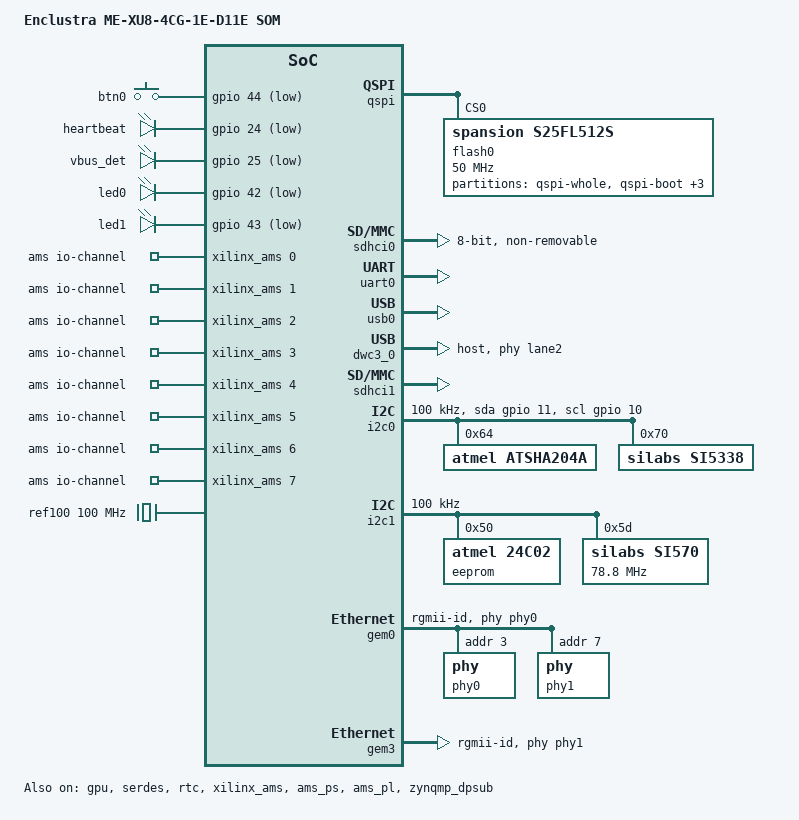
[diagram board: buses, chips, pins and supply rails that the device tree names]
#include "system-conf.dtsi"
/ {
	model = "Enclustra ME-XU8-4CG-1E-D11E SOM";
};

#include <dt-bindings/gpio/gpio.h>
#include <dt-bindings/clock/clk-si5338.h>
#include <dt-bindings/phy/phy.h>

/ {
  /delete-node/ chosen;
  chosen {
    bootargs = " earlycon console=ttyPS0,115200 clk_ignore_unused cma=1424M root=/dev/mmcblk1p2 rw rootwait";
    /*bootargs = "clk_ignore_unused maxcpus=1 nokaslr pti=off cma=1424M root=/dev/mmcblk1p2 rw rootwait"; // LX kernel debug boot*/
    /*bootargs = " earlycon console=ttyPS0,115200 clk_ignore_unused cma=1424M"; // ramdisk boot */
    stdout-path = "serial0:115200n8";
  };
  
  /delete-node/ aliases;
  aliases {
    ethernet0 = &gem0;
    ethernet1 = &gem3;
    i2c0 = &i2c0;
    i2c1 = &i2c1;
    serial0 = &uart0;
    spi0 = &qspi;
  };

  gpio-keys {
    compatible = "gpio-keys";
    autorepeat;
    
    //PS_BTN0# ST1_BTN0
    btn0 {
      label = "btn0";
      gpios = <&gpio 44 GPIO_ACTIVE_LOW>;
    };
  };
  
  gpio-leds {
    compatible = "gpio-leds";
    
    //PS_LED0# Mercury_XU8
    d200 {
      label = "heartbeat";
      gpios = <&gpio 24 GPIO_ACTIVE_LOW>;
      default-state = "off";
      linux,default-trigger = "heartbeat";
    };
    //PS_LED1# Mercury_XU8
    d201 {
      label = "vbus_det";
      gpios = <&gpio 25 GPIO_ACTIVE_LOW>;
      default-state = "off";
    };
    //PS_MIO42_PERST# ST1 LED0: GPIO0_LED0# or PCIe reset
    d1604 {
      label = "led0";
      gpios = <&gpio 42 GPIO_ACTIVE_LOW>;
      default-state = "off";
      linux,default-trigger = "netdev";
    };
    //PS_MIO43        ST1 LED1: GPIO1_LED1#
    d1605 {
      label = "led1";
      gpios = <&gpio 43 GPIO_ACTIVE_LOW>;
      default-state = "off";
      linux,default-trigger = "netdev";
    };
  };
  
  ams {
    compatible = "iio-hwmon";
    io-channels = <&xilinx_ams  0>, <&xilinx_ams  1>, <&xilinx_ams  2>,
                  <&xilinx_ams  3>, <&xilinx_ams  4>, <&xilinx_ams  5>,
                  <&xilinx_ams  6>, <&xilinx_ams  7>, <&xilinx_ams  8>,
                  <&xilinx_ams  9>, <&xilinx_ams 10>, <&xilinx_ams 11>,
                  <&xilinx_ams 12>, <&xilinx_ams 13>, <&xilinx_ams 14>,
                  <&xilinx_ams 15>, <&xilinx_ams 16>, <&xilinx_ams 17>,
                  <&xilinx_ams 18>, <&xilinx_ams 19>, <&xilinx_ams 20>,
                  <&xilinx_ams 21>, <&xilinx_ams 22>, <&xilinx_ams 23>,
                  <&xilinx_ams 24>, <&xilinx_ams 25>, <&xilinx_ams 26>,
                  <&xilinx_ams 27>, <&xilinx_ams 28>, <&xilinx_ams 29>;
  };

};

&gpu {
  status = "okay";
};

&serdes {
  status = "okay";
};

&rtc {
  status = "okay";
};

&fpd_dma_chan1 {
  status = "okay";
};

&fpd_dma_chan2 {
  status = "okay";
};

&fpd_dma_chan3 {
  status = "okay";
};

&fpd_dma_chan4 {
  status = "okay";
};

&fpd_dma_chan5 {
  status = "okay";
};

&fpd_dma_chan6 {
  status = "okay";
};

&fpd_dma_chan7 {
  status = "okay";
};

&fpd_dma_chan8 {
  status = "okay";
};

&gpio {
  status = "okay";
};

&qspi {
  status = "okay";
  #address-cells = <1>;
  #size-cells = <0>;
  is-dual = <0>;
  num-cs = <1>;

  /delete-node/ flash0;
  flash0: flash@0 {
    reg = <0x0>;
    compatible = "spansion,s25fl512s", "jedec,spi-nor";
    spi-rx-bus-width = <0x4>;
    spi-tx-bus-width = <0x4>;
    spi-max-frequency = <50000000>;
    #address-cells = <1>;
    #size-cells = <1>;

    partition@0 {
      label = "qspi-whole";
      reg = <0x00000000 0x04000000>;
    };
    partition@1 {
      label = "qspi-boot";
      reg = <0x0 0x00C00000>;        /* 12M */
    };
    partition@2 {
      label = "qspi-bootenv";
      reg = <0x00C00000 0x00100000>; /*  1M */
    };
    partition@3 {
      label = "qspi-linux";
      reg = <0x00D00000 0x02B00000>; /* 45M */
    };
    partition@4 {
      label = "qspi-flashfs";
      reg = <0x03800000 0x00800000>; /* 8M */
    };

  };
};

&sdhci0 {
  status = "okay";
  non-removable;
  disable-wp;
  xlnx,mio_bank = <0>;
  bus-width = <8>;
};

&uart0 {
  status = "okay";
};

&xilinx_ams {
  status = "okay";
};

&ams_ps {
  status = "okay";
};

&ams_pl {
  status = "okay";
};

&usb0 {
  status = "okay";
};

&usb1 {
  status = "disabled";
};

&dwc3_0 {
  status = "okay";
  dr_mode = "host";
  snps,usb3_lpm_capable;
  phy-names = "usb3-phy";
  phys = <&lane2 PHY_TYPE_USB3 0 2 100000000>;
  maximum-speed = "super-speed";
};

&dwc3_1 {
  status = "disabled";
  dr_mode = "host";
  snps,usb3_lpm_capable;
  phy-names = "usb3-phy";
  phys = <&lane3 PHY_TYPE_USB3 1 2 100000000>;
  maximum-speed = "super-speed";
};

/* SD1 with level shifter */
&sdhci1 {
  status = "okay";
  no-1-8-v; /* for 1.0 silicon */
  wp-inverted;
  xlnx,mio_bank = <1>;
};

&amba {
  ref100: ref100M {
    compatible = "fixed-clock";
    #clock-cells = <0>;
    clock-frequency = <100000000>;
  };
};

&i2c0 {
  status = "okay";
  clock-frequency = <100000>;
  scl-gpios = <&gpio 10 GPIO_ACTIVE_HIGH>;
  sda-gpios = <&gpio 11 GPIO_ACTIVE_HIGH>;

  atsha204a@64 {
    compatible = "atmel,atsha204a", "atmel,atsha204-i2c";
    reg = <0x64>;
    status = "okay";
  };

  si5338@70 {
    compatible = "silabs,si5338";
    reg = <0x70>;
    #address-cells = <1>;
    #size-cells = <0>;
    #clock-cells = <1>;
    status = "okay";

    clocks = <0>, <0>, <&ref100>, <0>, <0>;
    clock-names = "xtal", "in12", "in3", "in4", "in56";

    silab,ref-source = <SI5338_REF_SRC_CLKIN3>;
    silab,fb-source = <SI5338_FB_SRC_NOCLK>;
    silab,pll-source = <SI5338_PFD_IN_REF_REFCLK>;

    /* output */
    clkout0 {
      reg = <0>;
      silabs,drive-config = "3V3_LVDS";
      silabs,clock-source = <SI5338_OUT_MUX_MSN>;
      silabs,disable-state = <SI5338_OUT_DIS_HIZ>;
      clock-frequency = <125000000>;
      enabled = "okay";
    };
    clkout1 {
      reg = <1>;
      silabs,drive-config = "3V3_LVDS";
      silabs,clock-source = <SI5338_OUT_MUX_MSN>;
      silabs,disable-state = <SI5338_OUT_DIS_HIZ>;
      clock-frequency = <156250000>;
      enabled = "okay";
    };
    clkout2 {
      reg = <2>;
      silabs,drive-config = "3V3_LVDS";
      silabs,clock-source = <SI5338_OUT_MUX_MSN>;
      silabs,disable-state = <SI5338_OUT_DIS_HIZ>;
      clock-frequency = <156250000>;
      enabled = "okay";
    };
    clkout3 {
      reg = <3>;
      silabs,drive-config = "3V3_LVDS";
      silabs,clock-source = <SI5338_OUT_MUX_MSN>;
      silabs,disable-state = <SI5338_OUT_DIS_HIZ>;
      clock-frequency = <156250000>;
      enabled = "okay";
    };
  };
};

&i2c1 {
  status = "okay";
  clock-frequency = <100000>;

  eeprom@50 { /* FMCXM105 M24C02 2-Kb EEPROM */
    compatible = "atmel,24c02";
    reg = <0x50>;
    status = "okay";
  };

  si570@5d { /* Silabs Si570 programmable clock source */
    #clock-cells = <0>;
    compatible = "silabs,si570";
    reg = <0x5d>;
    temperature-stability = <50>;
    factory-fout = <156250000>;
    clock-frequency = <78800000>;
    clock-output-names = "si570";
    status = "okay";
  };
};

&xlnx_dpdma {
  status = "okay";
};

&zynqmp_dpsub {
  status = "okay";
  phy-names = "dp-phy0", "dp-phy1";
  phys = <&lane1 PHY_TYPE_DP 0x0 0x3 27000000>, <&lane0 PHY_TYPE_DP 0x1 0x3 27000000>;
  dma-names = "vid0", "vid1", "vid2", "gfx0";
  dmas = <&xlnx_dpdma 0>, <&xlnx_dpdma 1>, <&xlnx_dpdma 2>, <&xlnx_dpdma 3>;
};

&zynqmp_dp_snd_pcm0 {
    status = "disabled";
};

&zynqmp_dp_snd_pcm1 {
    status = "disabled";
};

&zynqmp_dp_snd_card0 {
    status = "disabled";
};

&zynqmp_dp_snd_codec0 {
    status = "disabled";
};

&gem0 {
  status = "okay";
  /delete-property/ local-mac-address;
  phy-mode = "rgmii-id";
  phy-handle = <&phy0>;
  phy0: phy@3 {
    reg = <3>;

    txc-skew-ps = <1800>;
    txen-skew-ps = <420>;

    txd0-skew-ps = <420>;
    txd1-skew-ps = <420>;
    txd2-skew-ps = <420>;
    txd3-skew-ps = <420>;

    rxc-skew-ps = <900>;
    rxdv-skew-ps = <420>;

    rxd0-skew-ps = <420>;
    rxd1-skew-ps = <420>;
    rxd2-skew-ps = <420>;
    rxd3-skew-ps = <420>;   
  };
  phy1: phy@7 {
    reg = <7>;

    txc-skew-ps = <1800>;
    txen-skew-ps = <420>;

    txd0-skew-ps = <420>;
    txd1-skew-ps = <420>;
    txd2-skew-ps = <420>;
    txd3-skew-ps = <420>;

    rxc-skew-ps = <900>;
    rxdv-skew-ps = <420>;

    rxd0-skew-ps = <420>;
    rxd1-skew-ps = <420>;
    rxd2-skew-ps = <420>;
    rxd3-skew-ps = <420>;   
  };
};

&gem3 {
  status = "okay";
  /delete-property/ local-mac-address;
  phy-handle = <&phy1>;
  phy-mode = "rgmii-id";
};

